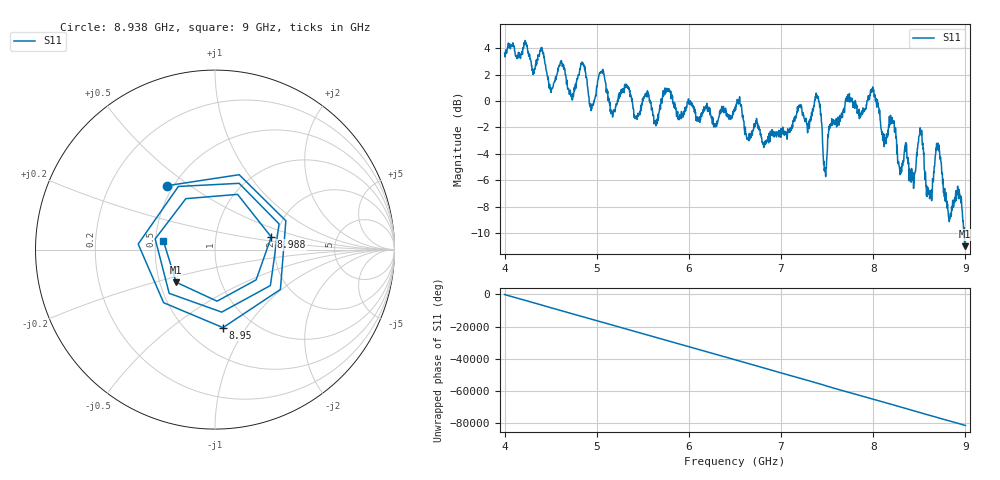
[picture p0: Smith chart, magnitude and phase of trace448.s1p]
! Created with skrf 1.8.0 (http://scikit-rf.org).
# Hz S RI R 50.0
!freq ReS11 ImS11
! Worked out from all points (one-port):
!   1601 points, 4 GHz to 9 GHz, reference 50 ohm
!   lowest |S11| = -11.0 dB at 8.997 GHz (marker M1), VSWR 1.79, Z = 30.4 - j12 ohm
!   |S11| at or under -10 dB: 8.988384 GHz to end of sweep
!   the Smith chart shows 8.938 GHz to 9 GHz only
!   S11 on the Smith chart (normalised r, x): 8.938 GHz: 0.46, +0.41; 8.95 GHz: 0.73, -0.79; 8.988 GHz: 1.88, +0.30; 9 GHz: 0.55, +0.06
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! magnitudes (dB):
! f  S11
! 4 GHz  3.6
! 4.503 GHz  0.6
! 4.625 GHz  2.7
! 4.725 GHz  0.3
! 4.847 GHz  2.8
! 4.944 GHz  -0.6
! 5.05 GHz  2.2
! 5.172 GHz  -1.2
! 5.25 GHz  0.5
! 5.875 GHz  -1.0
! 6.5 GHz  -0.5
! 6.819 GHz  -3.3
! 7.125 GHz  -2.0
! 7.397 GHz  0.3
! 7.478 GHz  -5.1
! 7.75 GHz  0.2
! 7.994 GHz  1.1
! 8.375 GHz  -4.6
! 8.434 GHz  -5.4
! 8.512 GHz  -2.3
! 8.603 GHz  -7.0
! 8.697 GHz  -3.5
! 8.822 GHz  -8.8
! 8.938 GHz  -7.0
! 8.95 GHz  -7.2
! 8.988 GHz  -9.9
! 8.997 GHz  -11.0
! 9 GHz  -10.7
